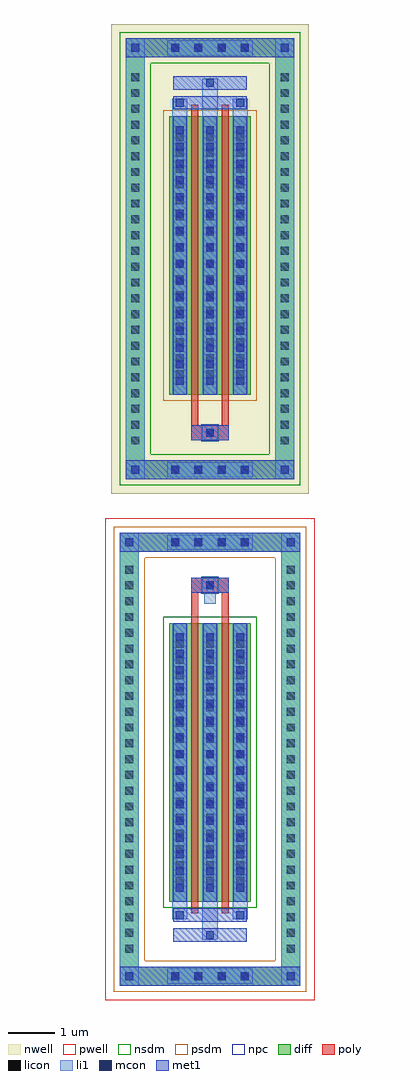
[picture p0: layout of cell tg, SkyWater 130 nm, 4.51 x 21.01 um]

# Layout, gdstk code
import gdstk
lib = gdstk.Library(unit=1e-6, precision=5e-09)
def R(c, l, rs):  # rectangles x0, y0, x1, y1
    for r in rs: c.add(gdstk.rectangle(r[:2], r[2:], *l))
def A(c, l, x, y, w, h, nx, ny, dx, dy):  # array of equal rectangles
    R(c, l, [(x+i*dx, y+j*dy, x+i*dx+w, y+j*dy+h) for i in range(nx) for j in range(ny)])
def P(c, l, *ps):  # polygons
    for p in ps: c.add(gdstk.Polygon(p, *l))
nwell = (64, 20)
pwell = (64, 44)
diff = (65, 20)
poly = (66, 20)
licon = (66, 44)
li1 = (67, 20)
mcon = (67, 44)
met1 = (68, 20)
nsdm = (93, 44)
psdm = (94, 20)
npc = (95, 20)

unnamed_9c306456 = lib.new_cell('Unnamed_9c306456')
R(unnamed_9c306456, nwell, [(-2.125,-5.055,2.125,5.055)])
A(unnamed_9c306456, diff, -0.955, -4.745, 0.41, 0.41, 4, 2, 0.5, 9.08)
A(unnamed_9c306456, diff, -1.815, -4.115, 0.41, 0.41, 1, 24, 0, 0.34)
A(unnamed_9c306456, diff, 1.405, -4.115, 0.41, 0.41, 1, 24, 0, 0.34)
R(unnamed_9c306456, diff, [(-0.955,-4.745,0.955,-4.335), (-1.815,-4.115,-1.405,4.115), (1.405,-4.115,1.815,4.115), (-0.875,-2.93,0.875,3.07), (-0.955,4.335,0.955,4.745)])
P(unnamed_9c306456, diff, [(1.815,4.745),(-1.815,4.745),(-1.815,-4.335),(-1.405,-4.335),(-1.405,4.335),(1.405,4.335),(1.405,-4.335),(-1.405,-4.335),(-1.815,-4.335),(-1.815,-4.745),(1.815,-4.745)])
R(unnamed_9c306456, poly, [(-0.4,-3.91,0.4,-3.58), (-0.165,-3.91,0.165,-3.58), (-0.4,-3.58,-0.25,-3.18), (0.25,-3.58,0.4,-3.18), (-0.4,-3.18,-0.25,3.32), (0.25,-3.18,0.4,3.32)])
A(unnamed_9c306456, licon, -0.835, -4.625, 0.17, 0.17, 4, 2, 0.5, 9.08)
A(unnamed_9c306456, licon, -1.695, -3.995, 0.17, 0.17, 1, 24, 0, 0.34)
A(unnamed_9c306456, licon, 1.525, -3.995, 0.17, 0.17, 1, 24, 0, 0.34)
A(unnamed_9c306456, licon, -0.735, -2.565, 0.17, 0.17, 3, 16, 0.65, 0.34)
R(unnamed_9c306456, licon, [(-0.085,-3.83,0.085,-3.66)])
A(unnamed_9c306456, li1, -0.915, -4.705, 0.33, 0.33, 4, 2, 0.5, 9.08)
A(unnamed_9c306456, li1, -1.775, -4.075, 0.33, 0.33, 1, 24, 0, 0.34)
A(unnamed_9c306456, li1, 1.445, -4.075, 0.33, 0.33, 1, 24, 0, 0.34)
A(unnamed_9c306456, li1, -0.815, -2.93, 0.33, 6, 3, 1, 0.65, 0)
A(unnamed_9c306456, li1, -0.735, -2.715, 0.17, 0.17, 3, 16, 0.65, 0.36)
A(unnamed_9c306456, li1, -0.735, -2.715, 0.17, 5.57, 3, 1, 0.65, 0)
A(unnamed_9c306456, li1, -0.815, -2.645, 0.33, 0.33, 3, 16, 0.65, 0.34)
R(unnamed_9c306456, li1, [(-1.815,-4.745,-1.405,-4.335), (1.405,-4.745,1.815,-4.335), (-0.915,-4.705,0.915,-4.375), (-1.695,-4.625,-1.525,-4.455), (-1.695,-4.625,-1.525,-4.455), (1.525,-4.625,1.695,-4.455), (1.525,-4.625,1.695,-4.455), (-1.815,-4.335,-1.405,4.335), (1.405,-4.335,1.815,4.335), (-0.165,-3.91,0.165,-3.58), (-0.815,3.07,-0.485,3.445), (-0.165,3.07,0.165,3.875), (0.485,3.07,0.815,3.445), (-0.735,3.275,-0.565,3.445), (0.565,3.275,0.735,3.445), (-0.085,3.705,0.085,3.875), (-1.815,4.335,-1.405,4.745), (1.405,4.335,1.815,4.745), (-0.915,4.375,0.915,4.705), (-1.695,4.455,-1.525,4.625), (-1.695,4.455,-1.525,4.625), (1.525,4.455,1.695,4.625), (1.525,4.455,1.695,4.625)])
A(unnamed_9c306456, mcon, -0.835, -4.625, 0.17, 0.17, 4, 2, 0.5, 9.08)
A(unnamed_9c306456, mcon, -0.735, -2.715, 0.17, 0.17, 3, 16, 0.65, 0.36)
R(unnamed_9c306456, mcon, [(-1.695,-4.625,-1.525,-4.455), (1.525,-4.625,1.695,-4.455), (-0.085,-3.83,0.085,-3.66), (-0.735,3.275,-0.565,3.445), (0.565,3.275,0.735,3.445), (-0.085,3.705,0.085,3.875), (-1.695,4.455,-1.525,4.625), (1.525,4.455,1.695,4.625)])
A(unnamed_9c306456, met1, -0.895, -4.685, 0.29, 0.29, 4, 2, 0.5, 9.08)
A(unnamed_9c306456, met1, -0.795, -2.93, 0.29, 6, 3, 1, 0.65, 0)
A(unnamed_9c306456, met1, -0.795, -2.775, 0.29, 0.29, 3, 16, 0.65, 0.36)
R(unnamed_9c306456, met1, [(-1.815,-4.745,-1.405,-4.335), (-1.815,-4.745,-1.405,-4.335), (-1.405,-4.745,1.405,-4.335), (1.405,-4.745,1.815,-4.335), (1.405,-4.745,1.815,-4.335), (-1.755,-4.685,-1.465,-4.395), (1.465,-4.685,1.755,-4.395), (-0.4,-3.91,0.4,-3.58), (-0.145,-3.89,0.145,-3.6), (-0.795,3.215,-0.505,3.505), (-0.795,3.215,0.795,3.505), (0.505,3.215,0.795,3.505), (-0.795,3.645,0.795,3.935), (-0.145,3.645,0.145,3.935), (-1.815,4.335,-1.405,4.745), (-1.815,4.335,-1.405,4.745), (-1.405,4.335,1.405,4.745), (1.405,4.335,1.815,4.745), (1.405,4.335,1.815,4.745), (-1.755,4.395,-1.465,4.685), (1.465,4.395,1.755,4.685)])
P(unnamed_9c306456, nsdm, [(1.945,4.875),(-1.945,4.875),(-1.945,-4.205),(-1.275,-4.205),(-1.275,4.205),(1.275,4.205),(1.275,-4.205),(-1.275,-4.205),(-1.945,-4.205),(-1.945,-4.875),(1.945,-4.875)])
R(unnamed_9c306456, psdm, [(-1.005,-3.06,1.005,3.2)])
R(unnamed_9c306456, npc, [(-0.185,-3.93,0.185,-3.56), (-0.185,-3.93,0.185,-3.56)])

unnamed_e9a41ca3 = lib.new_cell('Unnamed_e9a41ca3')
R(unnamed_e9a41ca3, pwell, [(-2.255,-5.185,2.255,5.185)])
A(unnamed_e9a41ca3, diff, -0.955, -4.875, 0.41, 0.41, 4, 2, 0.5, 9.34)
A(unnamed_e9a41ca3, diff, -1.945, -4.285, 0.41, 0.41, 1, 25, 0, 0.34)
A(unnamed_e9a41ca3, diff, 1.535, -4.285, 0.41, 0.41, 1, 25, 0, 0.34)
R(unnamed_e9a41ca3, diff, [(-0.955,-4.875,0.955,-4.465), (-1.945,-4.285,-1.535,4.285), (1.535,-4.285,1.945,4.285), (-0.875,-2.93,0.875,3.07), (-0.955,4.465,0.955,4.875)])
P(unnamed_e9a41ca3, diff, [(1.945,4.875),(-1.945,4.875),(-1.945,-4.465),(-1.535,-4.465),(-1.535,4.465),(1.535,4.465),(1.535,-4.465),(-1.535,-4.465),(-1.945,-4.465),(-1.945,-4.875),(1.945,-4.875)])
R(unnamed_e9a41ca3, poly, [(-0.4,-3.91,0.4,-3.58), (-0.165,-3.91,0.165,-3.58), (-0.4,-3.58,-0.25,-3.18), (0.25,-3.58,0.4,-3.18), (-0.4,-3.18,-0.25,3.32), (0.25,-3.18,0.4,3.32)])
A(unnamed_e9a41ca3, licon, -0.835, -4.755, 0.17, 0.17, 4, 2, 0.5, 9.34)
A(unnamed_e9a41ca3, licon, -1.825, -4.165, 0.17, 0.17, 1, 25, 0, 0.34)
A(unnamed_e9a41ca3, licon, 1.655, -4.165, 0.17, 0.17, 1, 25, 0, 0.34)
A(unnamed_e9a41ca3, licon, -0.735, -2.565, 0.17, 0.17, 3, 16, 0.65, 0.34)
R(unnamed_e9a41ca3, licon, [(-0.085,-3.83,0.085,-3.66)])
A(unnamed_e9a41ca3, li1, -0.915, -4.835, 0.33, 0.33, 4, 2, 0.5, 9.34)
A(unnamed_e9a41ca3, li1, -1.905, -4.245, 0.33, 0.33, 1, 25, 0, 0.34)
A(unnamed_e9a41ca3, li1, 1.575, -4.245, 0.33, 0.33, 1, 25, 0, 0.34)
A(unnamed_e9a41ca3, li1, -0.815, -2.93, 0.33, 6, 3, 1, 0.65, 0)
A(unnamed_e9a41ca3, li1, -0.735, -2.715, 0.17, 0.17, 3, 16, 0.65, 0.36)
A(unnamed_e9a41ca3, li1, -0.735, -2.715, 0.17, 5.57, 3, 1, 0.65, 0)
A(unnamed_e9a41ca3, li1, -0.815, -2.645, 0.33, 0.33, 3, 16, 0.65, 0.34)
R(unnamed_e9a41ca3, li1, [(-1.945,-4.875,-1.535,-4.465), (1.535,-4.875,1.945,-4.465), (-0.915,-4.835,0.915,-4.505), (-1.825,-4.755,-1.655,-4.585), (-1.825,-4.755,-1.655,-4.585), (1.655,-4.755,1.825,-4.585), (1.655,-4.755,1.825,-4.585), (-1.945,-4.465,-1.535,4.465), (1.535,-4.465,1.945,4.465), (-0.165,-3.91,0.165,-3.58), (-0.815,3.07,-0.485,3.445), (-0.165,3.07,0.165,3.875), (0.485,3.07,0.815,3.445), (-0.735,3.275,-0.565,3.445), (0.565,3.275,0.735,3.445), (-0.085,3.705,0.085,3.875), (-1.945,4.465,-1.535,4.875), (1.535,4.465,1.945,4.875), (-0.915,4.505,0.915,4.835), (-1.825,4.585,-1.655,4.755), (-1.825,4.585,-1.655,4.755), (1.655,4.585,1.825,4.755), (1.655,4.585,1.825,4.755)])
A(unnamed_e9a41ca3, mcon, -0.835, -4.755, 0.17, 0.17, 4, 2, 0.5, 9.34)
A(unnamed_e9a41ca3, mcon, -0.735, -2.715, 0.17, 0.17, 3, 16, 0.65, 0.36)
R(unnamed_e9a41ca3, mcon, [(-1.825,-4.755,-1.655,-4.585), (1.655,-4.755,1.825,-4.585), (-0.085,-3.83,0.085,-3.66), (-0.735,3.275,-0.565,3.445), (0.565,3.275,0.735,3.445), (-0.085,3.705,0.085,3.875), (-1.825,4.585,-1.655,4.755), (1.655,4.585,1.825,4.755)])
A(unnamed_e9a41ca3, met1, -0.895, -4.815, 0.29, 0.29, 4, 2, 0.5, 9.34)
A(unnamed_e9a41ca3, met1, -0.795, -2.93, 0.29, 6, 3, 1, 0.65, 0)
A(unnamed_e9a41ca3, met1, -0.795, -2.775, 0.29, 0.29, 3, 16, 0.65, 0.36)
R(unnamed_e9a41ca3, met1, [(-1.945,-4.875,-1.535,-4.465), (-1.945,-4.875,-1.535,-4.465), (-1.535,-4.875,1.535,-4.465), (1.535,-4.875,1.945,-4.465), (1.535,-4.875,1.945,-4.465), (-1.885,-4.815,-1.595,-4.525), (1.595,-4.815,1.885,-4.525), (-0.4,-3.91,0.4,-3.58), (-0.145,-3.89,0.145,-3.6), (-0.795,3.215,-0.505,3.505), (-0.795,3.215,0.795,3.505), (0.505,3.215,0.795,3.505), (-0.795,3.645,0.795,3.935), (-0.145,3.645,0.145,3.935), (-1.945,4.465,-1.535,4.875), (-1.945,4.465,-1.535,4.875), (-1.535,4.465,1.535,4.875), (1.535,4.465,1.945,4.875), (1.535,4.465,1.945,4.875), (-1.885,4.525,-1.595,4.815), (1.595,4.525,1.885,4.815)])
R(unnamed_e9a41ca3, nsdm, [(-1.005,-3.06,1.005,3.2)])
P(unnamed_e9a41ca3, psdm, [(2.075,5.005),(-2.075,5.005),(-2.075,-4.335),(-1.405,-4.335),(-1.405,4.335),(1.405,4.335),(1.405,-4.335),(-1.405,-4.335),(-2.075,-4.335),(-2.075,-5.005),(2.075,-5.005)])
R(unnamed_e9a41ca3, npc, [(-0.185,-3.93,0.185,-3.56), (-0.185,-3.93,0.185,-3.56)])

compass_45394bd3 = lib.new_cell('compass_45394bd3')
R(compass_45394bd3, li1, [(-0.12,-0.12,0.12,0.12)])

unnamed_98dbf70a = lib.new_cell('Unnamed_98dbf70a')
unnamed_98dbf70a.add(gdstk.Reference(compass_45394bd3, (0,0)))
unnamed_98dbf70a.add(gdstk.Label('A', (0,0), layer=67, texttype=5))

compass_45394bd3_1 = lib.new_cell('compass_45394bd3$1')
R(compass_45394bd3_1, li1, [(-0.12,-0.12,0.12,0.12)])

unnamed_a9af67ee = lib.new_cell('Unnamed_a9af67ee')
unnamed_a9af67ee.add(gdstk.Reference(compass_45394bd3_1, (0,0)))
unnamed_a9af67ee.add(gdstk.Label('Y', (0,0), layer=67, texttype=5))

compass_45394bd3_2 = lib.new_cell('compass_45394bd3$2')
R(compass_45394bd3_2, li1, [(-0.12,-0.12,0.12,0.12)])

unnamed_68925ca4 = lib.new_cell('Unnamed_68925ca4')
unnamed_68925ca4.add(gdstk.Reference(compass_45394bd3_2, (0,0)))
unnamed_68925ca4.add(gdstk.Label('C', (0,0), layer=67, texttype=5))

compass_45394bd3_3 = lib.new_cell('compass_45394bd3$3')
R(compass_45394bd3_3, li1, [(-0.12,-0.12,0.12,0.12)])

unnamed_49da1279 = lib.new_cell('Unnamed_49da1279')
unnamed_49da1279.add(gdstk.Reference(compass_45394bd3_3, (0,0)))
unnamed_49da1279.add(gdstk.Label('CBAR', (0,0), layer=67, texttype=5))

c_tg = lib.new_cell('tg')
c_tg.add(gdstk.Reference(unnamed_9c306456, (0,10.77)))
c_tg.add(gdstk.Reference(unnamed_e9a41ca3, (0,0), x_reflection=True))
c_tg.add(gdstk.Reference(unnamed_98dbf70a, (0,-3.765)))
c_tg.add(gdstk.Reference(unnamed_a9af67ee, (0,-3.335)))
c_tg.add(gdstk.Reference(unnamed_68925ca4, (0,3.46)))
c_tg.add(gdstk.Reference(unnamed_49da1279, (0,7.07)))

lib.write_gds('tg.gds')
